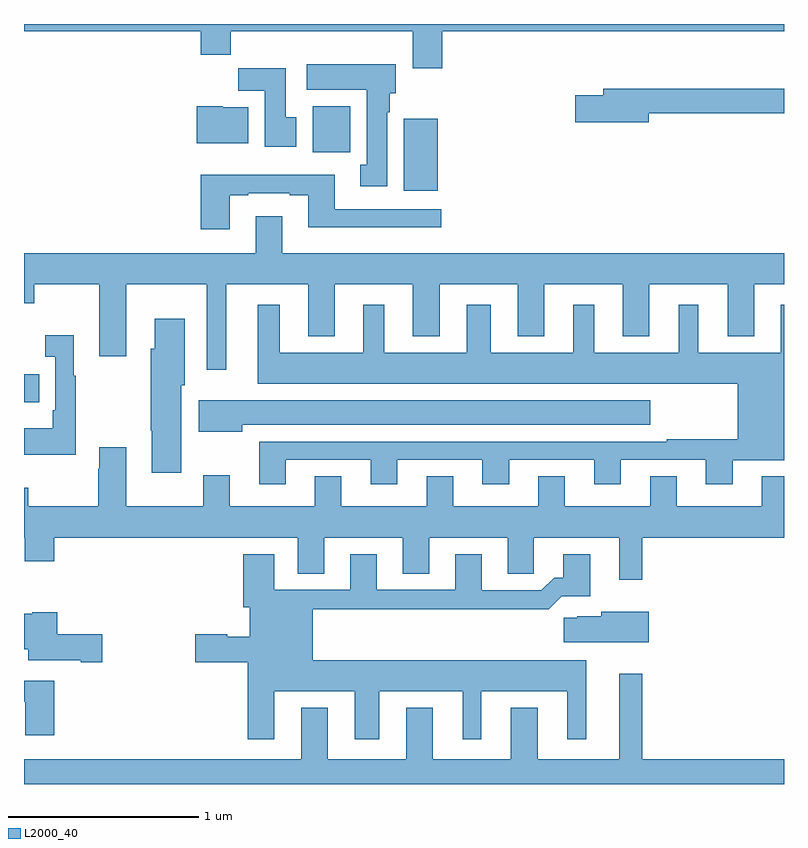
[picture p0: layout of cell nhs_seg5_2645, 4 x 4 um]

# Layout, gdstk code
import gdstk
lib = gdstk.Library(unit=1e-6, precision=1e-09)
def R(c, l, rs):  # rectangles x0, y0, x1, y1
    for r in rs: c.add(gdstk.rectangle(r[:2], r[2:], *l))
def P(c, l, *ps):  # polygons
    for p in ps: c.add(gdstk.Polygon(p, *l))
L2000_40 = (2000, 40)

nhs_seg5_2645 = lib.new_cell('nhs_seg5_2645')
R(nhs_seg5_2645, L2000_40, [(265,854.807,265.079,854.955), (266.999,855.921,267.178,856.3), (266.519,856.124,266.716,856.366)])
P(nhs_seg5_2645, L2000_40, [(265,856.76),(265.931,856.76),(265.931,856.636),(266.087,856.636),(266.087,856.76),(267.047,856.76),(267.047,856.566),(267.2,856.566),(267.2,856.76),(269,856.76),(269,856.799),(265,856.799)],
  [(266.911,856.334),(266.926,856.334),(266.926,856.434),(266.956,856.434),(266.956,856.588),(266.487,856.588),(266.487,856.454),(266.804,856.454),(266.804,856.058),(266.771,856.058),(266.771,855.945),(266.911,855.945)],
  [(266.434,856.308),(266.377,856.308),(266.377,856.567),(266.128,856.567),(266.128,856.448),(266.267,856.448),(266.267,856.152),(266.434,856.152)],
  [(268.288,856.33),(269,856.33),(269,856.459),(268.049,856.459),(268.049,856.425),(267.9,856.425),(267.9,856.283),(268.288,856.283)],
  [(266.179,856.36),(266.046,856.36),(266.046,856.366),(265.91,856.366),(265.91,856.172),(266.179,856.172)],
  [(266.083,855.897),(266.179,855.897),(266.179,855.909),(266.399,855.909),(266.399,855.897),(266.495,855.897),(266.495,855.728),(267.196,855.728),(267.196,855.825),(266.635,855.825),(266.635,856.006),(265.931,856.006),(265.931,855.72),(266.083,855.72)],
  [(266.359,855.787),(266.219,855.787),(266.219,855.592),(265,855.592),(265,855.329),(265.053,855.329),(265.053,855.428),(265.397,855.428),(265.397,855.051),(265.537,855.051),(265.537,855.428),(265.961,855.428),(265.961,854.979),(266.065,854.979),(266.065,855.428),(266.495,855.428),(266.495,855.155),(266.635,855.155),(266.635,855.428),(267.047,855.428),(267.047,855.155),(267.187,855.155),(267.187,855.428),(267.599,855.428),(267.599,855.155),(267.739,855.155),(267.739,855.428),(268.151,855.428),(268.151,855.155),(268.291,855.155),(268.291,855.428),(268.703,855.428),(268.703,855.155),(268.843,855.155),(268.843,855.428),(269,855.428),(269,855.592),(266.359,855.592)],
  [(266.377,854.505),(266.825,854.505),(266.825,854.376),(266.965,854.376),(266.965,854.505),(267.413,854.505),(267.413,854.376),(267.553,854.376),(267.553,854.505),(268.001,854.505),(268.001,854.376),(268.141,854.376),(268.141,854.505),(268.589,854.505),(268.589,854.376),(268.729,854.376),(268.729,854.504),(269,854.504),(269,855.322),(268.982,855.322),(268.982,855.07),(268.549,855.07),(268.549,855.322),(268.445,855.322),(268.445,855.07),(268,855.07),(268,855.322),(267.89,855.322),(267.89,855.07),(267.457,855.07),(267.457,855.322),(267.329,855.322),(267.329,855.07),(266.896,855.07),(266.896,855.322),(266.786,855.322),(266.786,855.07),(266.347,855.07),(266.347,855.322),(266.231,855.322),(266.231,854.906),(268.757,854.906),(268.757,854.614),(268.384,854.614),(268.384,854.601),(266.237,854.601),(266.237,854.376),(266.377,854.376)],
  [(265.828,854.898),(265.846,854.898),(265.846,855.247),(265.688,855.247),(265.688,855.09),(265.666,855.09),(265.666,854.659),(265.673,854.659),(265.673,854.436),(265.828,854.436)],
  [(265.273,854.947),(265.261,854.947),(265.261,855.16),(265.113,855.16),(265.113,855.047),(265.164,855.047),(265.164,854.767),(265.152,854.767),(265.152,854.671),(265,854.671),(265,854.531),(265.273,854.531)],
  [(266.149,854.69),(268.297,854.69),(268.297,854.818),(265.92,854.818),(265.92,854.654),(266.149,854.654)],
  [(266.531,854.26),(266.083,854.26),(266.083,854.425),(265.943,854.425),(265.943,854.26),(265.537,854.26),(265.537,854.572),(265.397,854.572),(265.397,854.459),(265.39,854.459),(265.39,854.26),(265.023,854.26),(265.023,854.359),(265,854.359),(265,854.096),(265.003,854.096),(265.003,853.972),(265.16,853.972),(265.16,854.096),(266.441,854.096),(266.441,853.906),(266.581,853.906),(266.581,854.096),(266.993,854.096),(266.993,853.906),(267.133,853.906),(267.133,854.096),(267.545,854.096),(267.545,853.906),(267.684,853.906),(267.684,854.096),(268.133,854.096),(268.133,853.875),(268.255,853.875),(268.255,854.096),(269,854.096),(269,854.419),(268.883,854.419),(268.883,854.26),(268.435,854.26),(268.435,854.42),(268.295,854.42),(268.295,854.26),(267.847,854.26),(267.847,854.42),(267.707,854.42),(267.707,854.26),(267.259,854.26),(267.259,854.42),(267.119,854.42),(267.119,854.26),(266.671,854.26),(266.671,854.42),(266.531,854.42)],
  [(266.317,853.286),(266.741,853.286),(266.741,853.035),(266.869,853.035),(266.869,853.286),(267.308,853.286),(267.308,853.035),(267.406,853.035),(267.406,853.286),(267.86,853.286),(267.86,853.035),(267.958,853.035),(267.958,853.45),(266.521,853.45),(266.521,853.72),(267.505,853.72),(267.505,853.718),(267.761,853.718),(267.831,853.788),(267.979,853.788),(267.979,854.008),(267.839,854.008),(267.839,853.885),(267.79,853.885),(267.723,853.818),(267.409,853.818),(267.409,854.008),(267.269,854.008),(267.269,853.821),(266.857,853.821),(266.857,854.008),(266.717,854.008),(266.717,853.821),(266.317,853.821),(266.317,854.008),(266.153,854.008),(266.153,853.728),(266.189,853.728),(266.189,853.573),(266.069,853.573),(266.069,853.586),(265.902,853.586),(265.902,853.439),(266.177,853.439),(266.177,853.035),(266.317,853.035)],
  [(268.288,853.705),(268.038,853.705),(268.038,853.681),(267.912,853.681),(267.912,853.673),(267.84,853.673),(267.84,853.544),(268.288,853.544)],
  [(265.411,853.586),(265.175,853.586),(265.175,853.702),(265.044,853.702),(265.044,853.696),(265,853.696),(265,853.508),(265.022,853.508),(265.022,853.451),(265.298,853.451),(265.298,853.439),(265.411,853.439)],
  [(269,852.928),(268.255,852.928),(268.255,853.378),(268.133,853.378),(268.133,852.928),(267.703,852.928),(267.703,853.201),(267.563,853.201),(267.563,852.928),(267.151,852.928),(267.151,853.201),(267.011,853.201),(267.011,852.928),(266.599,852.928),(266.599,853.201),(266.459,853.201),(266.459,852.928),(265,852.928),(265,852.799),(269,852.799)],
  [(265.16,853.342),(265,853.342),(265,853.233),(265.007,853.233),(265.007,853.056),(265.16,853.056)])

lib.write_gds('nhs_seg5_2645.gds')
